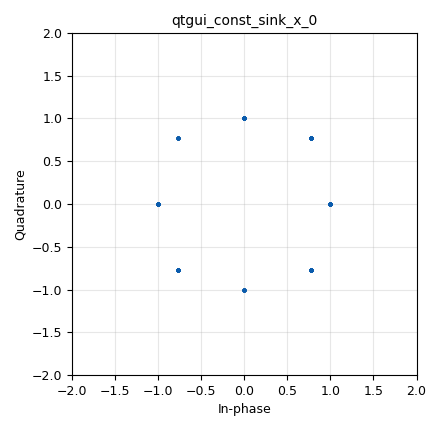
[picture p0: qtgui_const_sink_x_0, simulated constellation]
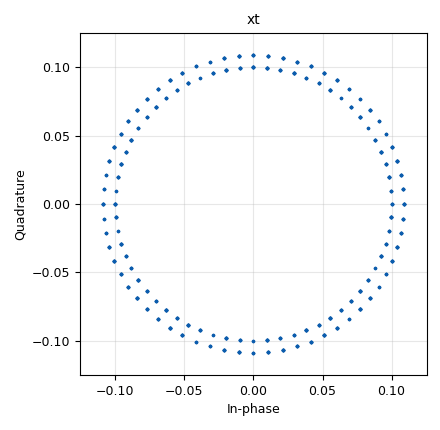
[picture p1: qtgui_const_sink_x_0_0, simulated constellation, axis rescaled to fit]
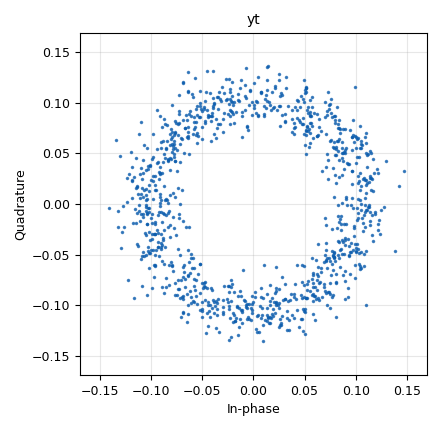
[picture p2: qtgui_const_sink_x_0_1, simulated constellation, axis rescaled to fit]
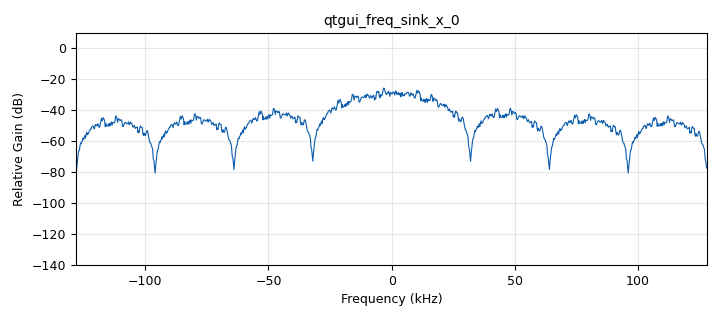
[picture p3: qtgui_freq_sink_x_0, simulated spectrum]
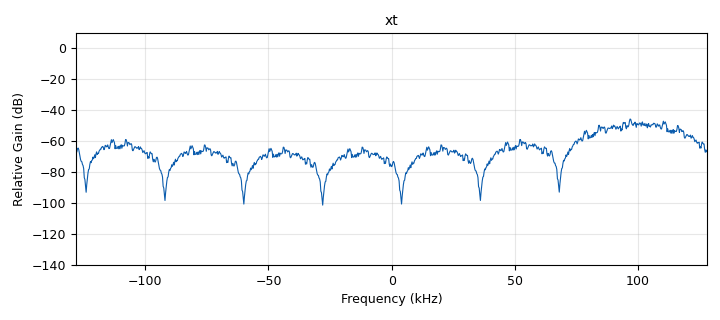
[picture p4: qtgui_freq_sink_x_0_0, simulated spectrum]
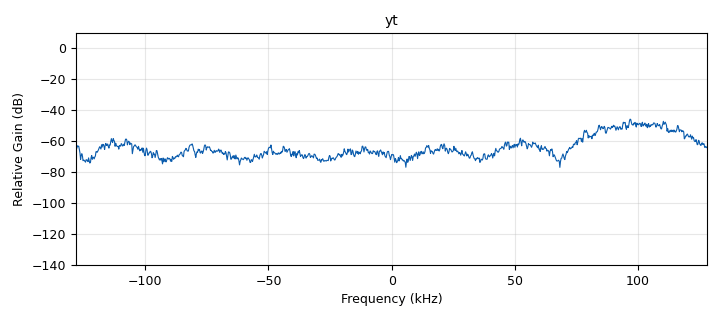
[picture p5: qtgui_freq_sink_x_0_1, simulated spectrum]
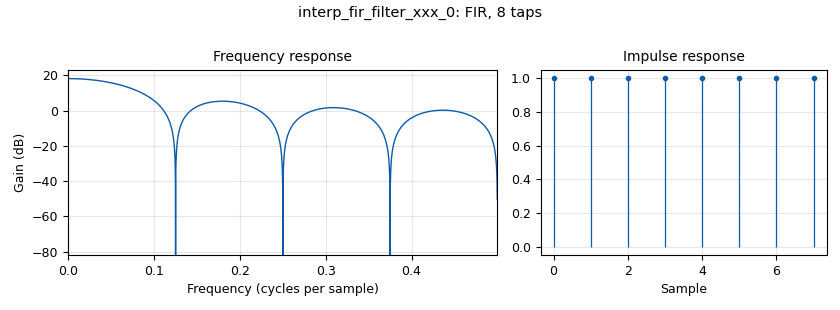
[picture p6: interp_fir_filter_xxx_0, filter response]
options:
  parameters:
    author: radiogis_director
    generate_options: qt_gui
    id: top_block
    output_language: python
    title: top_block
  states: {}

blocks:
- name: M
  id: variable
  parameters:
    value: len(tabla_de_verdad_constelacion )
  states: {}
- name: Rb
  id: variable
  parameters:
    value: Rs*bps
  states: {}
- name: Rs
  id: variable
  parameters:
    value: '32000'
  states: {}
- name: Sps
  id: variable
  parameters:
    value: '8'
  states: {}
- name: bps
  id: variable
  parameters:
    value: int(math.log(M,2))
  states: {}
- name: h
  id: variable
  parameters:
    value: '[1]*Sps'
  states: {}
- name: samp_rate
  id: variable
  parameters:
    value: Rs*Sps
  states: {}
- name: tabla_de_verdad_constelacion
  id: variable
  parameters:
    value: (-1,-0.77+0.77j,1j,0.77+0.77j,1,0.77-0.77j,-1j,-0.77-0.77j)
  states: {}
- name: analog_noise_source_x_0
  id: analog_noise_source_x
  parameters:
    amp: '0.2'
    noise_type: analog.GR_GAUSSIAN
    seed: '0'
    type: complex
  states: {}
- name: analog_random_source_x_0
  id: analog_random_source_x
  parameters:
    max: '2'
    min: '0'
    num_samps: '1000'
    repeat: 'True'
    type: byte
  states: {}
- name: analog_sig_source_x_0
  id: analog_sig_source_x
  parameters:
    amp: '0.1'
    freq: 1e5
    offset: '0'
    phase: '0'
    samp_rate: samp_rate
    type: complex
    waveform: analog.GR_COS_WAVE
  states: {}
- name: analog_sig_source_x_0_0
  id: analog_sig_source_x
  parameters:
    amp: '-0.1'
    freq: 1e5
    offset: '0'
    phase: '0'
    samp_rate: samp_rate
    type: complex
    waveform: analog.GR_SIN_WAVE
  states: {}
- name: blocks_add_xx_0
  id: blocks_add_xx
  parameters:
    type: complex
  states: {}
- name: blocks_add_xx_0_0
  id: blocks_add_xx
  parameters:
    type: complex
  states: {state: disabled}
- name: blocks_multiply_xx_0
  id: blocks_multiply_xx
  parameters:
    type: complex
  states: {}
- name: blocks_multiply_xx_0_0
  id: blocks_multiply_xx
  parameters:
    type: complex
  states: {}
- name: blocks_pack_k_bits_bb_0
  id: blocks_pack_k_bits_bb
  parameters:
    k: '8'
  states: {}
- name: blocks_packed_to_unpacked_xx_0
  id: blocks_packed_to_unpacked_xx
  parameters:
    bits_per_chunk: bps
    endianness: gr.GR_MSB_FIRST
    type: byte
  states: {}
- name: digital_chunks_to_symbols_xx_0
  id: digital_chunks_to_symbols_xx
  parameters:
    dimension: '1'
    in_type: byte
    out_type: complex
    symbol_table: tabla_de_verdad_constelacion
  states: {}
- name: epy_block_0
  id: epy_block
  parameters:
    _source_code: |
      """
      Embedded Python Blocks:

      Each time this file is saved, GRC will instantiate the first class it finds
      to get ports and parameters of your block. The arguments to __init__  will
      be the parameters. All of them are required to have default values!
      """

      import numpy as np
      from gnuradio import gr


      class blk(gr.sync_block):  # other base classes are basic_block, decim_block, interp_block
          """Embedded Python Block example - a simple multiply const"""

          def __init__(self, example_param=1.0):  # only default arguments here
              """arguments to this function show up as parameters in GRC"""
              gr.sync_block.__init__(
                  self,
                  name='Embedded Python Block',   # will show up in GRC
                  in_1=[np.complex64],
                  in_2=[np.complex64],
                  out_sig=[np.complex64]
              )
              # if an attribute with the same name as a parameter is found,
              # a callback is registered (properties work, too).
              self.example_param = example_param

          def work(self, in_1,in_2, output_items):
              """example: multiply with constant"""
              output_items[0][:] = (in_1[0] * np.cos(2*pi*320000) - in_2[0] * np.sin(2*pi*320000) )* self.example_param
              return len(output_items[0])
    example_param: ''
  states: {state: disabled}
- name: epy_block_1
  id: epy_block
  parameters:
    _source_code: |
      """
      Embedded Python Blocks:

      Each time this file is saved, GRC will instantiate the first class it finds
      to get ports and parameters of your block. The arguments to __init__  will
      be the parameters. All of them are required to have default values!
      """

      import numpy as np
      from gnuradio import gr


      class blk(gr.sync_block):  # other base classes are basic_block, decim_block, interp_block
          """Embedded Python Block example - a simple multiply const"""

          def __init__(self, example_param=1.0):  # only default arguments here
              """arguments to this function show up as parameters in GRC"""
              gr.sync_block.__init__(
                  self,
                  name='Embedded Python Block',   # will show up in GRC
                  in_sig=[np.complex64],
                  out_sig=[np.complex64]
              )
              # if an attribute with the same name as a parameter is found,
              # a callback is registered (properties work, too).
              self.example_param = example_param

          def work(self, input_items, output_items):
              """example: multiply with constant"""
              output_items[0][:] = input_items[0] * self.example_param
              return len(output_items[0])
    example_param: ''
  states: {state: disabled}
- name: import_0
  id: import
  parameters:
    imports: import math
  states: {}
- name: interp_fir_filter_xxx_0
  id: interp_fir_filter_xxx
  parameters:
    interp: Sps
    taps: h
    type: ccf
  states: {}
- name: qtgui_const_sink_x_0
  id: qtgui_const_sink_x
  parameters:
    size: '1024'
    type: complex
  states: {}
- name: qtgui_const_sink_x_0_0
  id: qtgui_const_sink_x
  parameters:
    name: '"xt"'
    size: '1024'
    type: complex
  states: {}
- name: qtgui_const_sink_x_0_1
  id: qtgui_const_sink_x
  parameters:
    name: '"yt"'
    size: '1024'
    type: complex
  states: {}
- name: qtgui_freq_sink_x_0
  id: qtgui_freq_sink_x
  parameters:
    average: '0.05'
    bw: samp_rate
    fc: '0'
    fftsize: '1024'
    type: complex
  states: {}
- name: qtgui_freq_sink_x_0_0
  id: qtgui_freq_sink_x
  parameters:
    average: '0.05'
    bw: samp_rate
    fc: '0'
    fftsize: '1024'
    name: '"xt"'
    type: complex
  states: {}
- name: qtgui_freq_sink_x_0_1
  id: qtgui_freq_sink_x
  parameters:
    average: '0.05'
    bw: samp_rate
    fc: '0'
    fftsize: '1024'
    name: '"yt"'
    type: complex
  states: {}
- name: qtgui_time_sink_x_0
  id: qtgui_time_sink_x
  parameters:
    size: '1024'
    srate: samp_rate
    type: complex
  states: {}
- name: qtgui_time_sink_x_0_0
  id: qtgui_time_sink_x
  parameters:
    name: '"xt"'
    size: '1024'
    srate: samp_rate
    type: complex
  states: {}
- name: qtgui_time_sink_x_0_1
  id: qtgui_time_sink_x
  parameters:
    name: '"yt"'
    size: '1024'
    srate: samp_rate
    type: complex
  states: {}
- name: virtual_sink_0
  id: virtual_sink
  parameters:
    stream_id: p1
  states: {}
- name: virtual_sink_0_0
  id: virtual_sink
  parameters:
    stream_id: p0
  states: {}
- name: virtual_source_0
  id: virtual_source
  parameters:
    stream_id: p1
  states: {}
- name: virtual_source_0_0
  id: virtual_source
  parameters:
    stream_id: p0
  states: {}

connections:
- [analog_noise_source_x_0, '0', blocks_add_xx_0, '0']
- [analog_random_source_x_0, '0', blocks_pack_k_bits_bb_0, '0']
- [analog_sig_source_x_0, '0', blocks_multiply_xx_0, '1']
- [analog_sig_source_x_0_0, '0', blocks_multiply_xx_0_0, '1']
- [blocks_add_xx_0, '0', virtual_sink_0, '0']
- [blocks_add_xx_0_0, '0', qtgui_const_sink_x_0, '0']
- [blocks_add_xx_0_0, '0', qtgui_freq_sink_x_0, '0']
- [blocks_add_xx_0_0, '0', qtgui_time_sink_x_0, '0']
- [blocks_multiply_xx_0, '0', blocks_add_xx_0_0, '0']
- [blocks_multiply_xx_0, '0', qtgui_const_sink_x_0_0, '0']
- [blocks_multiply_xx_0, '0', qtgui_freq_sink_x_0_0, '0']
- [blocks_multiply_xx_0, '0', qtgui_time_sink_x_0_0, '0']
- [blocks_multiply_xx_0_0, '0', blocks_add_xx_0_0, '1']
- [blocks_multiply_xx_0_0, '0', qtgui_const_sink_x_0_1, '0']
- [blocks_multiply_xx_0_0, '0', qtgui_freq_sink_x_0_1, '0']
- [blocks_multiply_xx_0_0, '0', qtgui_time_sink_x_0_1, '0']
- [blocks_pack_k_bits_bb_0, '0', blocks_packed_to_unpacked_xx_0, '0']
- [blocks_packed_to_unpacked_xx_0, '0', digital_chunks_to_symbols_xx_0, '0']
- [digital_chunks_to_symbols_xx_0, '0', interp_fir_filter_xxx_0, '0']
- [epy_block_0, '0', qtgui_freq_sink_x_0_1, '0']
- [interp_fir_filter_xxx_0, '0', blocks_add_xx_0, '1']
- [interp_fir_filter_xxx_0, '0', virtual_sink_0_0, '0']
- [virtual_source_0, '0', blocks_multiply_xx_0_0, '0']
- [virtual_source_0_0, '0', blocks_multiply_xx_0, '0']
- [virtual_source_0_0, '0', epy_block_0, '0']
- [virtual_source_0_0, '0', qtgui_const_sink_x_0, '0']
- [virtual_source_0_0, '0', qtgui_freq_sink_x_0, '0']
- [virtual_source_0_0, '0', qtgui_time_sink_x_0, '0']

metadata:
  file_format: 1
  grc_version: v3.10.11.0-89-ga17f69e7
